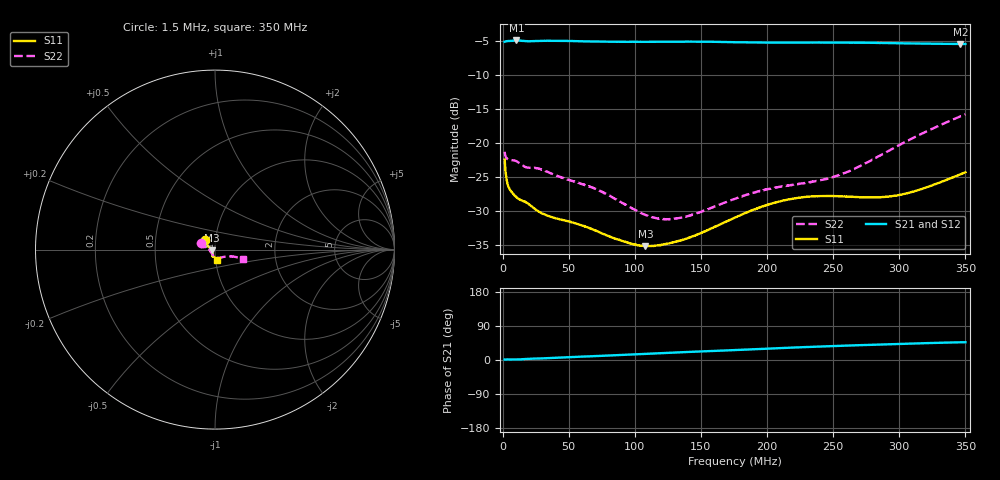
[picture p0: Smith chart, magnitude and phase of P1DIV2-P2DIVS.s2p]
# Hz S RI R 50
! RAW DATA - UNCALIBRATED
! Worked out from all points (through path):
!   1601 points, 1.5 MHz to 350 MHz, reference 50 ohm
!   highest |S21| = -4.99 dB at 10.43 MHz (marker M1); lowest = -5.5 dB at 346.3 MHz (marker M2)
!   lowest |S11| = -35.2 dB at 108 MHz (marker M3), VSWR 1.04, Z = 48.4 - j0.441 ohm
!   |S11| at or under -10 dB: start of sweep to end of sweep
!   |S22| runs from -31.3 to -15.8 dB; largest |S21 - S12| = 0.024
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1500000  -0.053 0.053  0.5511 0.0114  0.5493 0.00488  -0.0772 0.0369
3678125  -0.0425 0.0259  0.5573 0.0148  0.5579 0.0114  -0.0738 0.0172
4767188  -0.041 0.0217  0.5588 0.0126  0.5576 0.00912  -0.0732 0.0148
6727500  -0.0395 0.0181  0.5593 0.0131  0.5555 0.00974  -0.0731 0.013
1.043031e7  -0.0367 0.0151  0.563 0.015  0.5542 0.0168  -0.0714 0.0146
1.783594e7  -0.0339 0.0131  0.5561 0.0259  0.5571 0.0261  -0.0643 0.0134
3.068688e7  -0.028 0.0104  0.558 0.0423  0.551 0.0431  -0.0607 0.0152
5.965594e7  -0.0239 0.00573  0.5485 0.0852  0.5468 0.0881  -0.0484 0.0107
7.12e7  -0.0219 0.00426  0.5443 0.1004  0.5402 0.1032  -0.0443 0.009
8.601125e7  -0.0195 0.00107  0.5366 0.1216  0.5315 0.1252  -0.0378 0.00488
1.080103e8  -0.0167 -0.00456  0.5288 0.1536  0.5217 0.1595  -0.0288 -0.00537
1.178119e8  -0.0159 -0.00743  0.5252 0.1666  0.5173 0.1745  -0.0253 -0.0106
1.265244e8  -0.0152 -0.00998  0.5214 0.1801  0.5134 0.188  -0.0226 -0.0153
1.380684e8  -0.0142 -0.0134  0.5158 0.1967  0.5077 0.2061  -0.0189 -0.0213
1.7575e8  -0.0119 -0.0255  0.49 0.2415  0.4817 0.2536  -0.00509 -0.0382
2.053725e8  -0.0126 -0.0338  0.4669 0.2768  0.4576 0.2894  0.00732 -0.0457
2.339059e8  -0.0141 -0.0377  0.4464 0.3095  0.4351 0.3237  0.0232 -0.0459
2.606969e8  -0.0127 -0.038  0.4275 0.3345  0.4159 0.3499  0.0447 -0.0412
2.920619e8  -0.00597 -0.0396  0.4039 0.3562  0.3908 0.3702  0.0783 -0.038
3.142788e8  0.000477 -0.0446  0.3856 0.3705  0.3704 0.385  0.1056 -0.0398
3.462972e8  0.00967 -0.0576  0.3638 0.3856  0.3462 0.4001  0.1478 -0.0491
3.5e8  0.0108 -0.0595  0.3624 0.3873  0.344 0.4013  0.1533 -0.0508
